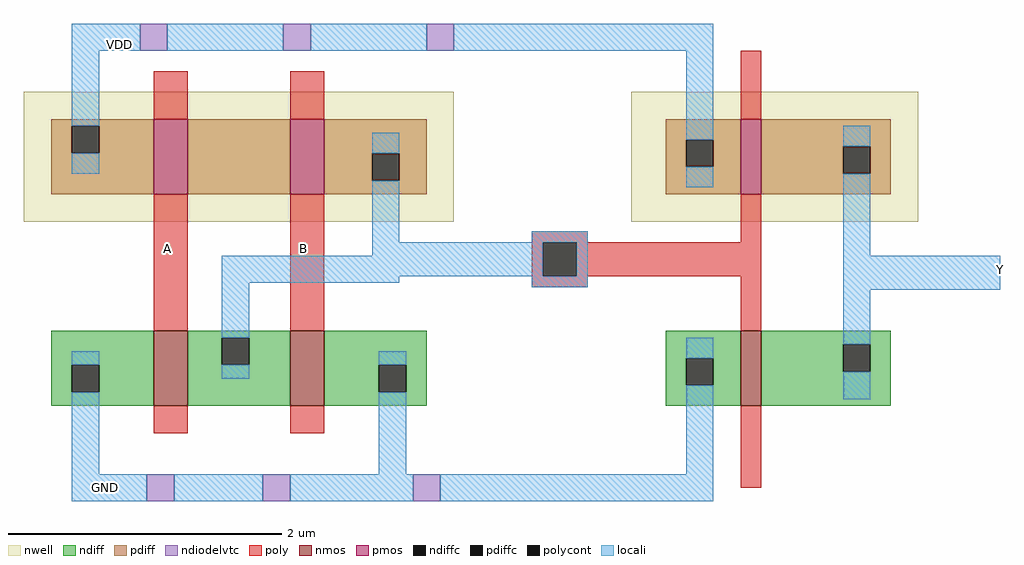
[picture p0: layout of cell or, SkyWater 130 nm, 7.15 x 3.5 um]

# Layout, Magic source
magic
tech sky130A
<< nwell >>
rect -85 -30 230 65
rect 360 -30 570 65
<< nmos >>
rect 10 -165 35 -110
rect 110 -165 135 -110
rect 440 -165 455 -110
<< pmos >>
rect 10 -10 35 45
rect 110 -10 135 45
rect 440 -10 455 45
<< ndiff >>
rect -65 -135 10 -110
rect -65 -155 -50 -135
rect -30 -155 10 -135
rect -65 -165 10 -155
rect 35 -115 110 -110
rect 35 -135 60 -115
rect 80 -135 110 -115
rect 35 -165 110 -135
rect 135 -135 210 -110
rect 135 -155 175 -135
rect 195 -155 210 -135
rect 135 -165 210 -155
rect 385 -130 440 -110
rect 385 -150 400 -130
rect 420 -150 440 -130
rect 385 -165 440 -150
rect 455 -120 550 -110
rect 455 -140 515 -120
rect 535 -140 550 -120
rect 455 -165 550 -140
<< pdiff >>
rect -65 40 10 45
rect -65 20 -50 40
rect -30 20 10 40
rect -65 -10 10 20
rect 35 -10 110 45
rect 135 20 210 45
rect 135 0 170 20
rect 190 0 210 20
rect 135 -10 210 0
rect 385 30 440 45
rect 385 10 400 30
rect 420 10 440 30
rect 385 -10 440 10
rect 455 25 550 45
rect 455 5 515 25
rect 535 5 550 25
rect 455 -10 550 5
<< ndiffc >>
rect -50 -155 -30 -135
rect 60 -135 80 -115
rect 175 -155 195 -135
rect 400 -150 420 -130
rect 515 -140 535 -120
<< pdiffc >>
rect -50 20 -30 40
rect 170 0 190 20
rect 400 10 420 30
rect 515 5 535 25
<< poly >>
rect 10 45 35 80
rect 110 45 135 80
rect 440 45 455 95
rect 10 -110 35 -10
rect 110 -110 135 -10
rect 287 -45 328 -37
rect 440 -45 455 -10
rect 287 -70 295 -45
rect 320 -70 455 -45
rect 287 -78 328 -70
rect 440 -110 455 -70
rect 10 -185 35 -165
rect 110 -185 135 -165
rect 440 -225 455 -165
<< polycont >>
rect 295 -70 320 -45
<< ndiodelvtc >>
rect 0 95 20 115
rect 105 95 125 115
rect 210 95 230 115
rect 5 -235 25 -215
rect 90 -235 110 -215
rect 200 -235 220 -215
<< locali >>
rect -50 95 0 115
rect 20 95 105 115
rect 125 95 210 115
rect 230 95 420 115
rect -50 40 -30 95
rect -50 5 -30 20
rect 170 20 190 35
rect 170 -45 190 0
rect 400 30 420 95
rect 400 -5 420 10
rect 515 25 535 40
rect 287 -45 328 -37
rect 170 -55 295 -45
rect 60 -70 295 -55
rect 320 -70 328 -45
rect 60 -75 190 -70
rect 60 -115 80 -75
rect 287 -78 328 -70
rect 515 -55 535 5
rect 515 -80 630 -55
rect -50 -135 -30 -125
rect 60 -145 80 -135
rect 175 -135 195 -125
rect -50 -215 -30 -155
rect 175 -215 195 -155
rect 400 -130 420 -115
rect 400 -215 420 -150
rect 515 -120 535 -80
rect 515 -160 535 -140
rect -50 -235 5 -215
rect 25 -235 90 -215
rect 110 -235 200 -215
rect 220 -235 420 -215
<< labels >>
rlabel locali -15 100 -15 100 1 VDD
port 4 n
rlabel locali -25 -225 -25 -225 1 GND
port 3 n
rlabel poly 20 -50 20 -50 1 A
port 1 n
rlabel poly 120 -50 120 -50 1 B
port 2 n
rlabel locali 630 -65 630 -65 7 Y
port 5 w
<< end >>
